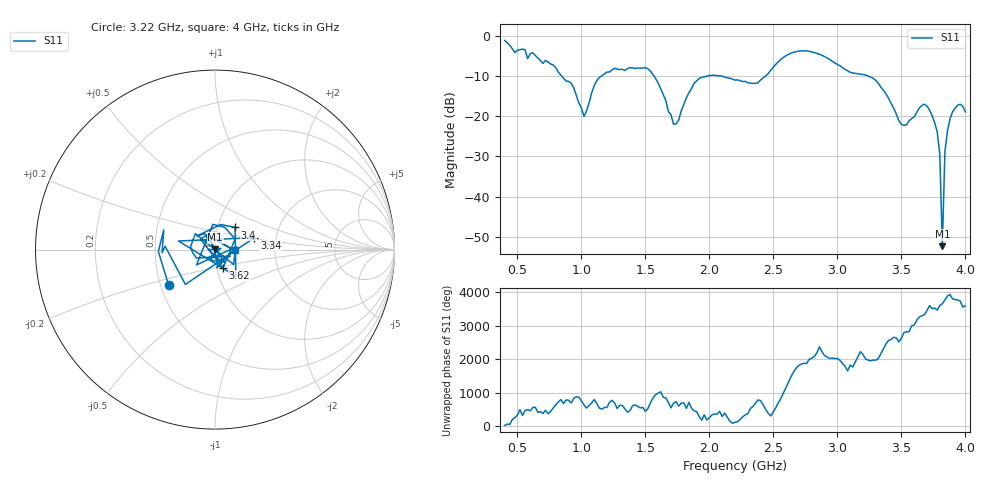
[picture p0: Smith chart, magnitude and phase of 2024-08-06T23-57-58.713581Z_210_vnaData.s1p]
!Created with skrf (http://scikit-rf.org).
# Hz S RI R 50.0
!freq ReS11 ImS11
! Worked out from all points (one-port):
!   181 points, 400 MHz to 4 GHz, reference 50 ohm
!   lowest |S11| = -52.3 dB at 3.82 GHz (marker M1), VSWR 1.00, Z = 50.1 + j0.217 ohm
!   |S11| at or under -10 dB: 1.567 GHz to 1.987 GHz (420.2 MHz wide, 23.6 % of centre); 2.088 GHz to 2.44 GHz (352.5 MHz wide, 15.6 % of centre); 3.239 GHz to end of sweep (the widest 3 of 4)
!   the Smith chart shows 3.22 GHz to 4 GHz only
!   S11 on the Smith chart (normalised r, x): 3.22 GHz: 0.55, -0.24; 3.34 GHz: 1.54, +0.22; 3.4 GHz: 1.21, +0.31; 3.62 GHz: 1.07, -0.22; 4 GHz: 1.25, -0.00
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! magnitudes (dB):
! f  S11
! 400 MHz  -1.2
! 860 MHz  -10.6
! 940 MHz  -13.0
! 1.02 GHz  -20.1
! 1.12 GHz  -11.2
! 1.3 GHz  -8.4
! 1.52 GHz  -8.2
! 1.72 GHz  -22.0
! 1.76 GHz  -21.0
! 1.92 GHz  -10.6
! 2.2 GHz  -11.0
! 2.38 GHz  -11.7
! 2.66 GHz  -4.1
! 3.1 GHz  -9.1
! 3.22 GHz  -9.8
! 3.34 GHz  -12.8
! 3.4 GHz  -15.6
! 3.5 GHz  -22.0
! 3.56 GHz  -21.1
! 3.62 GHz  -19.1
! 3.7 GHz  -17.5
! 3.78 GHz  -23.9
! 3.8 GHz  -29.4
! 3.82 GHz  -52.3
! 3.84 GHz  -28.8
! 3.86 GHz  -23.6
! 3.94 GHz  -17.3
! 4 GHz  -19.0
